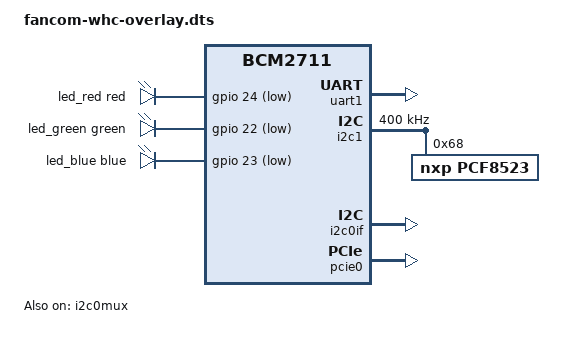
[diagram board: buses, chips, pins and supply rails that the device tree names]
/*
 * Nobleo Technology
 */

/dts-v1/;
/plugin/;
#include <dt-bindings/gpio/gpio.h>
#include <dt-bindings/pinctrl/bcm2835.h>
#include <dt-bindings/interrupt-controller/irq.h>
#include <dt-bindings/clock/bcm2835.h>

#include <dt-bindings/gpio/gpio.h>
#include <dt-bindings/leds/common.h>

#include "cma-overlay.dts"

/ {
	compatible = "raspberrypi,4-compute-module", "brcm,bcm2835", "brcm,bcm2711";

	fragment@0 {
		target = <&gpio>;
		__overlay__ {
			i2c1_pins: i2c1 {
				brcm,pins = <44 45>;
				brcm,function = <BCM2835_FSEL_ALT2>;
				brcm,pull = <BCM2835_PUD_UP>;
			};

			key_gpio: key_gpio {
				brcm,pins = <7 8>;
				brcm,function = <BCM2835_FSEL_GPIO_IN>;
				brcm,pull = <BCM2835_PUD_UP>;
			};
		};
	};

	fragment@1 { /* Debug port */
		target = <&uart1_pins>;
		__overlay__ {
			brcm,pins = <14 15>; /* pin 51, 55 */
			brcm,function = <BCM2835_FSEL_ALT0>;
			brcm,pull = <0 2>;
		};
	};

	fragment@2 { /* Debug port */
		target = <&uart1>;
		__overlay__ {
			status = "okay";
			pinctrl-names = "default";
			pinctrl-0 = <&uart1_pins>;
		};
	};


	/* Fixes because RPI does stupid stuff. */
	fragment@3 {
		target = <&phy1>;
		__overlay__ {
			reg = <0>;
		};
	};

	fragment@4 {
		target = <&i2c1>;
		__overlay__ {
			#gpio-cells = <2>;
			#address-cells = <1>;
			#size-cells = <0>;
			status = "okay";

			pinctrl-names = "default";
			pinctrl-0 = <&i2c1_pins>;
			clock-frequency = <400000>;

			pcf8523@68 {
				compatible = "nxp,pcf8523";
				reg = <0x68>;
				quartz-load-femtofarads = <7000>; /* in femto Farad (fF) */
				status = "okay";
			};
		};
	};

	fragment@5 {
		target = <&i2c0if>;
		__overlay__ {
			status = "okay";
		};
	};

	fragment@6 {
		target = <&i2c0mux>;
		__overlay__ {
			status = "okay";
		};
	};


	fragment@8 {
		target = <&pcie0>;
		__overlay__ {
			status = "okay";
			compatible = "brcm,bcm2711-pcie", "brcm,bcm7445-pcie";
			max-link-speed = <2>;

			//reset-names = "rescal";
			/*
			 * Defined ranges:
			 *   Common BCM283x peripherals
			 *   BCM2711-specific peripherals
			 *   ARM-local peripherals
			 */
//			ranges = <0x7e000000  0x0 0xfe000000  0x01800000>,
//				<0x7c000000  0x0 0xfc000000  0x02000000>,
//				<0x40000000  0x0 0xff800000  0x00800000>;
//			/* Emulate a contiguous 30-bit address range for DMA */
//			dma-ranges = <0xc0000000  0x0 0x00000000  0x40000000>;

//			pci0,0 {
//				#address-cells = <3>;
//				#size-cells = <2>;
//				reg = <0 0 0 0 0>;
//				device_type = "pci";
//			};
//			pci@0,0 {
//				// PCIe NVMe SSD M.2 slot, but how?
//				// https://en.wikipedia.org/wiki/M.2
//				// https://forums.developer.nvidia.com/t/installing-nvme-drive/49957
//				// https://community.nxp.com/t5/i-MX-Processors/IMX7D-PCIE-Support/td-p/810018
//			};
		};
	};

	fragment@9 {
		target-path = "/";
		__overlay__ {
			leds_rgb {
				compatible = "gpio-leds"; /* See leds-gpio.yaml */
				led_red {
					gpios = <&gpio 24 GPIO_ACTIVE_LOW>; /* pin 45 */
					color = <LED_COLOR_ID_RED>;
					default-state = "off";
				};


				led_green {
					gpios = <&gpio 22 GPIO_ACTIVE_LOW>; /* pin 46 */
					color = <LED_COLOR_ID_GREEN>;
					default-state = "off";
				};

				led_blue {
					gpios = <&gpio 23 GPIO_ACTIVE_LOW>; /* pin 47 */
					color = <LED_COLOR_ID_BLUE>;
					default-state = "off";
				};
			};
		};
	};

	fragment@10 {
		target = <&spi0>;
		__overlay__ {
			status = "disabled";
		};
	};
};


